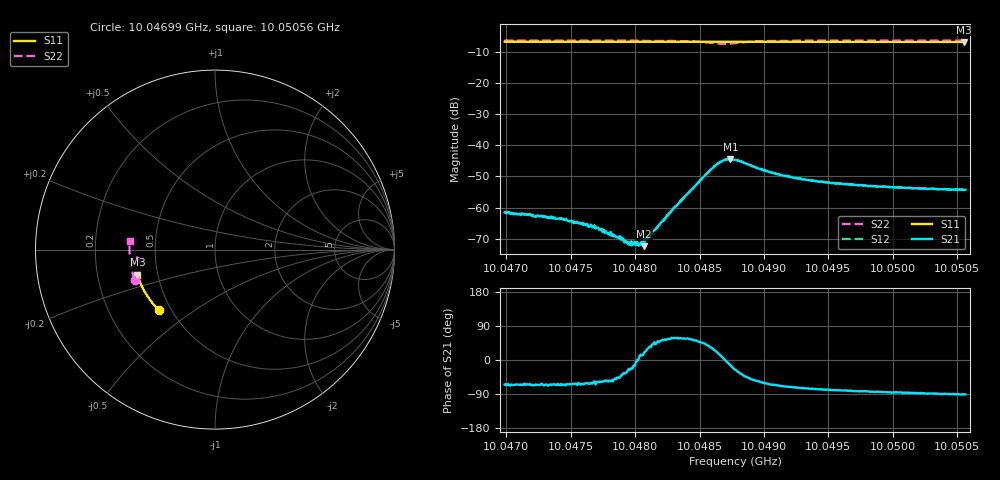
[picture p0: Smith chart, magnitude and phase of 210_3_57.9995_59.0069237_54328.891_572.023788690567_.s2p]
#  HZ  S  RI  R  50.00
! Rohde & Schwarz Vector Network Analyzer
! Rohde-Schwarz,ZNB20-2Port,1311601062101988,3.16
! Created: UTC 3/21/2024, 12:59:43 AM
! freq[Hz]  re:S11  im:S11  re:S21  im:S21  re:S12  im:S12  re:S22  im:S22
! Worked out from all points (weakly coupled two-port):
!   401 points, 10.04699 GHz to 10.05056 GHz, reference 50 ohm
!   highest |S21| = -44.44 dB at 10.04874 GHz (marker M1); lowest = -72.4 dB at 10.04807 GHz (marker M2)
!   lowest |S11| = -6.9 dB at 10.05056 GHz (marker M3), VSWR 2.66, Z = 19.2 - j6.74 ohm
!   |S11| at or under -10 dB: nowhere
!   |S22| runs from -7.5 to -6.4 dB; largest |S21 - S12| = 0.00042
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1.0046987e10  -0.3119 -0.339  0.000357 -0.000761  0.000393 -0.000737  -0.4483 -0.1698
1.0047416e10  -0.3316 -0.3184  0.000279 -0.000613  0.000325 -0.000565  -0.4571 -0.1413
1.0047586e10  -0.339 -0.3099  0.000258 -0.000502  0.000289 -0.000485  -0.4602 -0.1294
1.0047693e10  -0.3435 -0.3045  0.000208 -0.000433  0.000283 -0.000362  -0.4618 -0.1219
1.0047747e10  -0.3458 -0.3017  0.000218 -0.000344  0.000269 -0.000367  -0.4626 -0.1182
1.0047845e10  -0.3499 -0.2966  0.000233 -0.000264  0.000247 -0.000232  -0.4639 -0.1107
1.004789e10  -0.3518 -0.2944  0.000229 -0.000202  0.00026 -0.000204  -0.4643 -0.1072
1.0047935e10  -0.3535 -0.292  0.000231 -0.000143  0.000243 -0.000151  -0.4647 -0.1036
1.0047988e10  -0.3558 -0.2892  0.000247 -6.34e-05  0.000256 -4.86e-05  -0.4652 -0.0995
1.0048051e10  -0.3582 -0.2859  0.000278 5.76e-05  0.000226 8.78e-05  -0.4656 -0.0944
1.0048069e10  -0.359 -0.2849  0.000227 8e-05  0.000276 0.00015  -0.4658 -0.0929
1.0048185e10  -0.3637 -0.2788  0.000356 0.000384  0.000305 0.000426  -0.4658 -0.0827
1.004831e10  -0.3683 -0.272  0.000548 0.000869  0.000509 0.000894  -0.4645 -0.0703
1.0048597e10  -0.3784 -0.256  0.00361 0.00219  0.00349 0.00244  -0.4352 -0.0436
1.0048668e10  -0.3807 -0.2521  0.0054 0.000983  0.00534 0.00131  -0.4201 -0.0531
1.004874e10  -0.3831 -0.2485  0.00581 -0.00146  0.0059 -0.00107  -0.4202 -0.0726
1.0048775e10  -0.3844 -0.2466  0.00528 -0.00249  0.00545 -0.00214  -0.4268 -0.0795
1.0049071e10  -0.3945 -0.2298  0.00149 -0.00325  0.00171 -0.00319  -0.4662 -0.0624
1.0049375e10  -0.4038 -0.212  0.00067 -0.00262  0.000827 -0.00259  -0.4741 -0.0351
1.0049974e10  -0.4197 -0.176  0.000171 -0.00211  0.000293 -0.00212  -0.4765 0.00965
1.0050555e10  -0.4322 -0.1397  -1.09e-05 -0.00191  6.22e-05 -0.00192  -0.4739 0.0496
1.0050564e10  -0.4324 -0.1392  -2.84e-05 -0.00193  6.18e-05 -0.00192  -0.4738 0.0501
